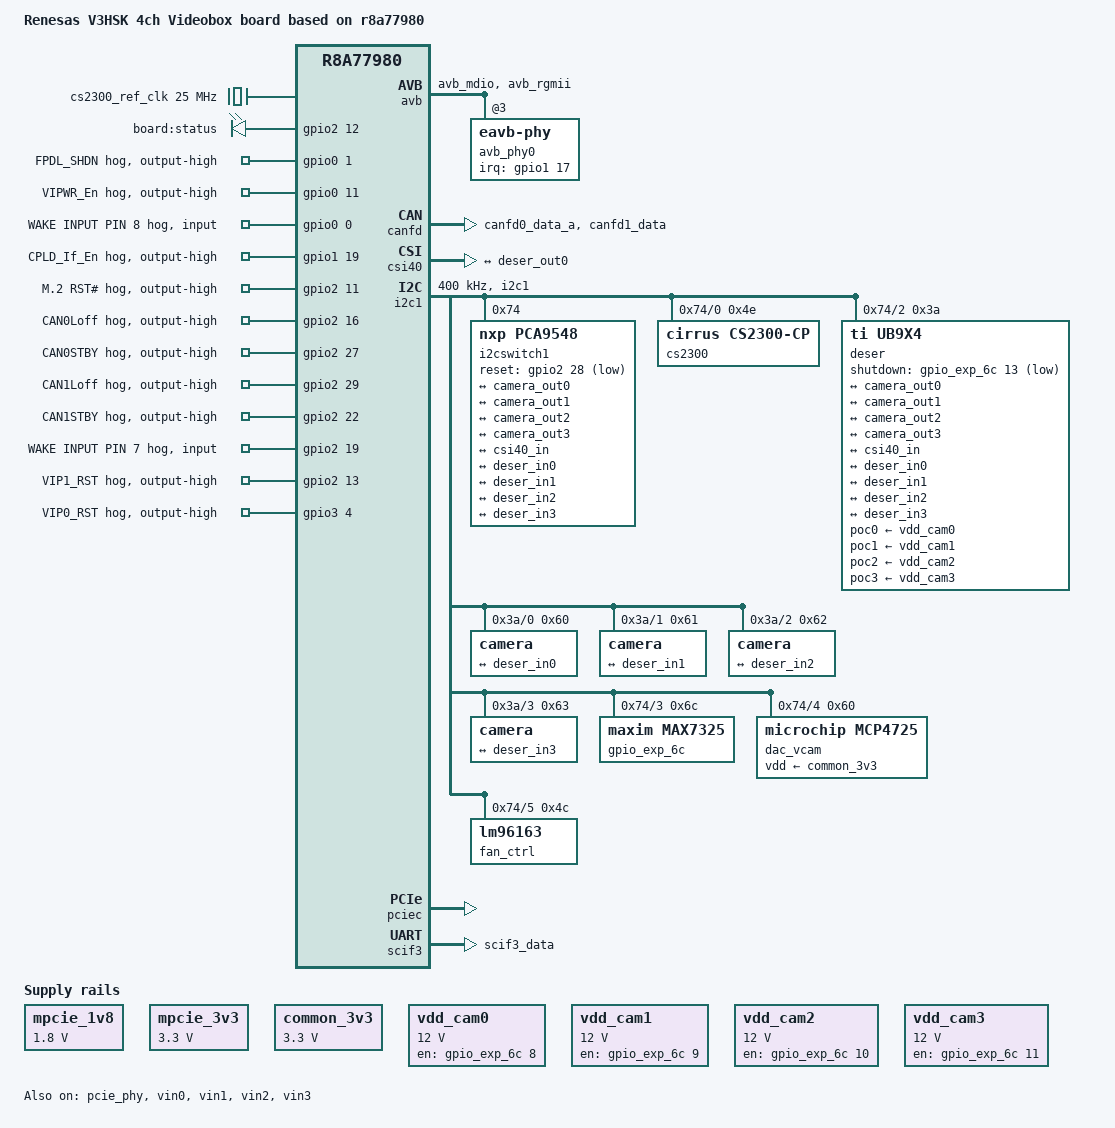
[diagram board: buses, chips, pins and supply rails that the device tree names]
// SPDX-License-Identifier: GPL-2.0
/*
 * Device Tree Source for the V3HSK 4ch Videobox board on r8a77980
 *
 * Copyright (C) 2018-2020 Cogent Embedded, Inc.
 */

#include "r8a77980-v3hsk.dts"
#include <dt-bindings/gpio/gpio.h>
#include "camera.dtsi"

/ {
	model = "Renesas V3HSK 4ch Videobox board based on r8a77980";

	aliases {
		serial1 = &scif3;
		ethernet1 = &avb;
	};

	cs2300_ref_clk: cs2300_ref_clk {
		compatible = "fixed-clock";
		#clock-cells = <0>;
		clock-frequency = <25000000>;
	};

	leds {
		compatible = "gpio-leds";

		led0 {
			label = "board:status";
			gpios = <&gpio2 12 GPIO_ACTIVE_HIGH>;
			linux,default-trigger = "none";
		};
	};

	mpcie_1v8: regulator2 {
		compatible = "regulator-fixed";
		regulator-name = "mPCIe 1v8";
		regulator-min-microvolt = <1800000>;
		regulator-max-microvolt = <1800000>;
		regulator-boot-on;
		regulator-always-on;
	};

	mpcie_3v3: regulator3 {
		compatible = "regulator-fixed";
		regulator-name = "mPCIe 3v3";
		regulator-min-microvolt = <3300000>;
		regulator-max-microvolt = <3300000>;
		regulator-boot-on;
		regulator-always-on;
	};

	common_3v3: regulator4 {
		compatible = "regulator-fixed";
		regulator-name = "main 3v3";
		regulator-min-microvolt = <3300000>;
		regulator-max-microvolt = <3300000>;
		regulator-boot-on;
		regulator-always-on;
	};

	vdd_cam0: regulator-vdd-cam0 {
		compatible = "regulator-fixed";
		regulator-name = "Video PWR0";
		regulator-min-microvolt = <12000000>;
		regulator-max-microvolt = <12000000>;
		gpio = <&gpio_exp_6c 8 GPIO_ACTIVE_HIGH>;
		enable-active-high;
	};

	vdd_cam1: regulator-vdd-cam1 {
		compatible = "regulator-fixed";
		regulator-name = "Video PWR1";
		regulator-min-microvolt = <12000000>;
		regulator-max-microvolt = <12000000>;
		gpio = <&gpio_exp_6c 9 GPIO_ACTIVE_HIGH>;
		enable-active-high;
	};

	vdd_cam2: regulator-vdd-cam2 {
		compatible = "regulator-fixed";
		regulator-name = "Video PWR2";
		regulator-min-microvolt = <12000000>;
		regulator-max-microvolt = <12000000>;
		gpio = <&gpio_exp_6c 10 GPIO_ACTIVE_HIGH>;
		enable-active-high;
	};

	vdd_cam3: regulator-vdd-cam3 {
		compatible = "regulator-fixed";
		regulator-name = "Video PWR3";
		regulator-min-microvolt = <12000000>;
		regulator-max-microvolt = <12000000>;
		gpio = <&gpio_exp_6c 11 GPIO_ACTIVE_HIGH>;
		enable-active-high;
	};
};

&avb {
	pinctrl-0 = <&avb_pins>;
	pinctrl-names = "default";
	renesas,no-ether-link;
	phy-handle = <&avb_phy0>;
	status = "okay";
	phy-int-gpio = <&gpio1 17 GPIO_ACTIVE_LOW>;

	avb_phy0: eavb-phy@0 {
		rxc-skew-ps = <1500>;
		rxdv-skew-ps = <420>; /* default */
		rxd0-skew-ps = <420>; /* default */
		rxd1-skew-ps = <420>; /* default */
		rxd2-skew-ps = <420>; /* default */
		rxd3-skew-ps = <420>; /* default */
		txc-skew-ps = <900>; /* default */
		txen-skew-ps = <420>; /* default */
		txd0-skew-ps = <420>; /* default */
		txd1-skew-ps = <420>; /* default */
		txd2-skew-ps = <420>; /* default */
		txd3-skew-ps = <420>; /* default */
		reg = <3>;
		interrupt-parent = <&gpio1>;
		interrupts = <17 IRQ_TYPE_LEVEL_LOW>;
		max-speed = <1000>;
	};
};

&canfd {
	pinctrl-0 = <&canfd0_pins &canfd1_pins>;
	pinctrl-names = "default";
	status = "okay";

	channel0 {
		status = "okay";
	};

	channel1 {
		status = "okay";
	};
};

&csi40 {
	status = "okay";

	ports {
		#address-cells = <1>;
		#size-cells = <0>;

		port@0 {
			reg = <0>;

			csi40_in: endpoint {
				clock-lanes = <0>;
				data-lanes = <1 2 3 4>;
				remote-endpoint = <&deser_out0>;
			};
		};
	};
};

&i2c1 {
	pinctrl-0 = <&i2c1_pins>;
	pinctrl-names = "default";
	status = "okay";

	clock-frequency = <400000>;
	multi-master;

	i2cswitch1: i2c-switch@74 {
		compatible = "nxp,pca9548";
		#address-cells = <1>;
		#size-cells = <0>;
		reg = <0x74>;
		reset-gpios = <&gpio2 28 GPIO_ACTIVE_LOW>;

		i2c@0 {
			#address-cells = <1>;
			#size-cells = <0>;
			reg = <0>;

			cs2300: clk_multiplier@4e {
				#clock-cells = <0>;
				compatible = "cirrus,cs2300-cp";
				reg = <0x4e>;
				clocks = <&cs2300_ref_clk>;
				clock-names = "clk_in";

				assigned-clocks = <&cs2300>;
				assigned-clock-rates = <25000000>;
			};
		};

		i2c@2 {
			#address-cells = <1>;
			#size-cells = <0>;
			reg = <2>;

			deser@3a {
				compatible = "ti,ub9x4";
				#address-cells = <1>;
				#size-cells = <0>;
				reg = <0x3a>;
				regs = <0x0c 0x0d 0x0e 0x0f>;
				clocks = <&cs2300>;
				clock-names = "ref_clk";
				ti,vc-map = <0x3210>;
				ti,csi1-links = <0 1 2 3>;
				ti,csi-rate = <1200>;
				shutdown-gpios = <&gpio_exp_6c 13 GPIO_ACTIVE_LOW>;

				poc0-supply = <&vdd_cam0>;
				poc1-supply = <&vdd_cam1>;
				poc2-supply = <&vdd_cam2>;
				poc3-supply = <&vdd_cam3>;

				ports {
					#address-cells = <1>;
					#size-cells = <0>;

					port@0 {
						reg = <0>;
						deser_in0: endpoint {
							remote-endpoint = <&camera_out0>;
						};
					};

					port@1 {
						reg = <1>;
						deser_in1: endpoint {
							remote-endpoint = <&camera_out1>;
						};
					};

					port@2 {
						reg = <2>;
						deser_in2: endpoint {
							remote-endpoint = <&camera_out2>;
						};
					};

					port@3 {
						reg = <3>;
						deser_in3: endpoint {
							remote-endpoint = <&camera_out3>;
						};
					};

					port@4 {
						reg = <4>;
						deser_out0: endpoint {
							clock-lanes = <0>;
							data-lanes = <1 2 3 4>;
							remote-endpoint = <&csi40_in>;
						};
					};
				};

				i2c@0 {
					#address-cells = <1>;
					#size-cells = <0>;
					reg = <0>;

					camera@60 {
						compatible = LVDS_CAMERA;
						reg = <0x60 0x0c>;

						port {
							camera_out0: endpoint {
								remote-endpoint = <&deser_in0>;
							};
						};
					};
				};

				i2c@1 {
					#address-cells = <1>;
					#size-cells = <0>;
					reg = <1>;

					camera@61 {
						compatible = LVDS_CAMERA;
						reg = <0x61 0x0d>;

						port {
							camera_out1: endpoint {
								remote-endpoint = <&deser_in1>;
							};
						};
					};
				};

				i2c@2 {
					#address-cells = <1>;
					#size-cells = <0>;
					reg = <2>;

					camera@62 {
						compatible = LVDS_CAMERA;
						reg = <0x62 0x0e>;

						port {
							camera_out2: endpoint {
								remote-endpoint = <&deser_in2>;
							};
						};
					};
				};

				i2c@3 {
					#address-cells = <1>;
					#size-cells = <0>;
					reg = <3>;

					camera@63 {
						compatible = LVDS_CAMERA;
						reg = <0x63 0x0f>;

						port {
							camera_out3: endpoint {
								remote-endpoint = <&deser_in3>;
							};
						};
					};
				};
			};
		};

		i2c@3 {
			#address-cells = <1>;
			#size-cells = <0>;
			reg = <3>;

			gpio_exp_6c: gpio@6c {
				compatible = "maxim,max7325";
				reg = <0x6c>;
				gpio-controller;
				#gpio-cells = <2>;

				ch0_virq {
					gpio-hog;
					gpios = <5 GPIO_ACTIVE_HIGH>;
					input;
					line-name = "CH0_VIRQ";
				};
				ch0_des_cfg0 {
					gpio-hog;
					gpios = <6 GPIO_ACTIVE_HIGH>;
					input;
					line-name = "CH0_CNFG0";
				};
				ch0_des_cfg1 {
					gpio-hog;
					gpios = <7 GPIO_ACTIVE_HIGH>;
					input;
					line-name = "CH0_CNFG1";
				};
			};
		};

		i2c@4 {
			#address-cells = <1>;
			#size-cells = <0>;
			reg = <4>;

			dac_vcam: dac_vcam@60 {
				compatible = "microchip,mcp4725";
				reg = <0x60>;
				vdd-supply = <&common_3v3>;
			};
		};

		i2c@5 {
			#address-cells = <1>;
			#size-cells = <0>;
			reg = <5>;

			/* fan node - lm96063 */
			fan_ctrl: lm96063@4c {
				compatible = "lm96163";
				reg = <0x4c>;
			};
		};

		i2c@7 {
			#address-cells = <1>;
			#size-cells = <0>;
			reg = <7>;

			/* ext connector nodes here */
		};
	};
};

&gpio0 {
	fpdl_shdn {
		gpio-hog;
		gpios = <1 GPIO_ACTIVE_HIGH>;
		output-high;
		line-name = "FPDL_SHDN";
	};

	cam_pwr_en {
		gpio-hog;
		gpios = <11 GPIO_ACTIVE_HIGH>;
		output-high;
		line-name = "VIPWR_En";
	};

	wake_pin_8 {
		gpio-hog;
		gpios = <0 GPIO_ACTIVE_HIGH>;
		input;
		line-name = "WAKE INPUT PIN 8";
	};
};

&gpio1 {
	md_buf_en {
		gpio-hog;
		gpios = <19 GPIO_ACTIVE_HIGH>;
		output-high;
		line-name = "CPLD_If_En";
	};
};

&gpio2 {
	m2_rst {
		gpio-hog;
		gpios = <11 GPIO_ACTIVE_HIGH>;
		output-high;
		line-name = "M.2 RST#";
	};

	can0_load {
		gpio-hog;
		gpios = <16 GPIO_ACTIVE_HIGH>;
		output-high;
		line-name = "CAN0Loff";
	};

	can0_stby {
		gpio-hog;
		gpios = <27 GPIO_ACTIVE_HIGH>;
		output-high;
		line-name = "CAN0STBY";
	};

	can1_load {
		gpio-hog;
		gpios = <29 GPIO_ACTIVE_HIGH>;
		output-high;
		line-name = "CAN1Loff";
	};

	can1_stby {
		gpio-hog;
		gpios = <22 GPIO_ACTIVE_HIGH>;
		output-high;
		line-name = "CAN1STBY";
	};

	wake_pin_7 {
		gpio-hog;
		gpios = <19 GPIO_ACTIVE_HIGH>;
		input;
		line-name = "WAKE INPUT PIN 7";
	};

	vi1_gpioext_rst {
		gpio-hog;
		gpios = <13 GPIO_ACTIVE_HIGH>;
		output-high;
		line-name = "VIP1_RST";
	};
};

&gpio3 {
	vi0_gpioext_rst {
		gpio-hog;
		gpios = <4 GPIO_ACTIVE_HIGH>;
		output-high;
		line-name = "VIP0_RST";
	};
};

&pcie_bus_clk {
	clock-frequency = <100000000>;
	status = "okay";
};

&pciec {
	pcie3v3-supply = <&mpcie_3v3>;
	pcie1v8-supply = <&mpcie_1v8>;
	status = "okay";
};

&pcie_phy {
	status = "okay";
};

&pfc {
	canfd0_pins: canfd0 {
		groups = "canfd0_data_a";
		function = "canfd0";
	};

	canfd1_pins: canfd1 {
		groups = "canfd1_data";
		function = "canfd1";
	};

	avb_pins: avb {
		groups = "avb_mdio", "avb_rgmii";
		function = "avb";
	};

	i2c1_pins: i2c1 {
		groups = "i2c1";
		function = "i2c1";
	};

	scif3_pins: scif3 {
		groups = "scif3_data";
		function = "scif3";
	};
};

&scif3 {
	pinctrl-0 = <&scif3_pins>;
	pinctrl-names = "default";

	status = "okay";
};

&tpu {
	status = "disabled";
};

&vin0 {
	status = "okay";
};

&vin1 {
	status = "okay";
};

&vin2 {
	status = "okay";
};

&vin3 {
	status = "okay";
};
